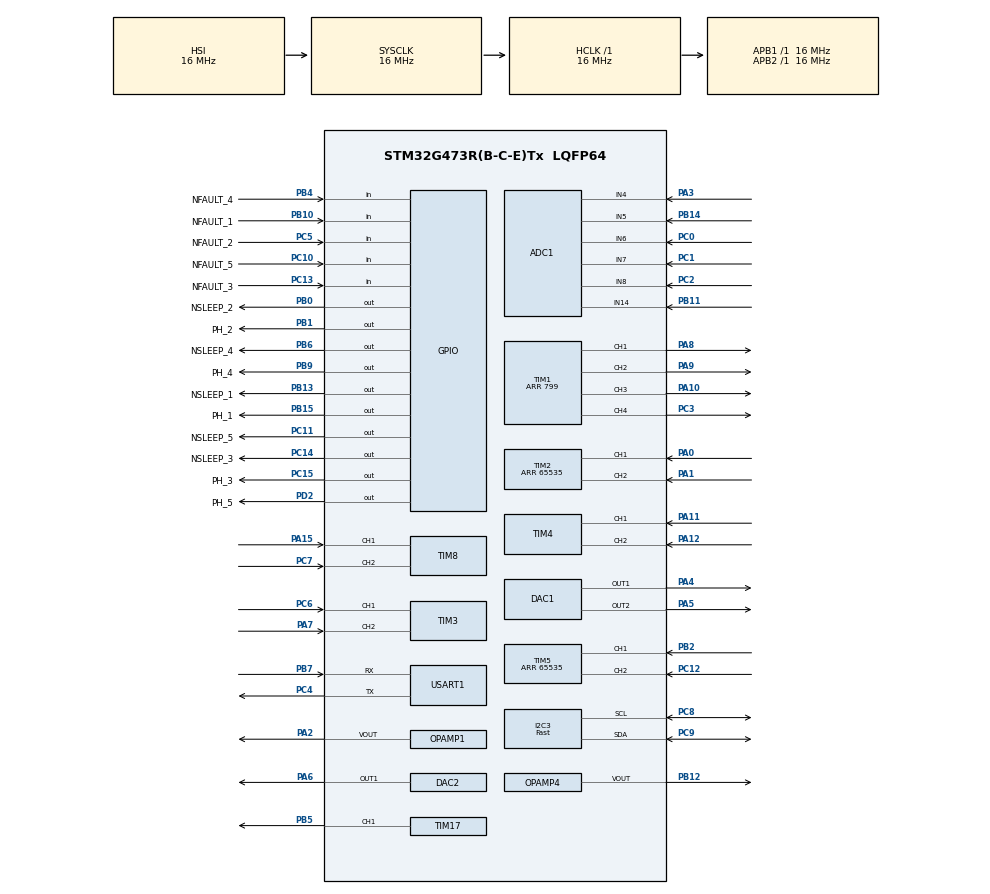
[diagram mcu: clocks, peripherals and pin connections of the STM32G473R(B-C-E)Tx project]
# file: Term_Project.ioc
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ADC1.Channel-0\#ChannelRegularConversion=ADC_CHANNEL_4
ADC1.Channel-1\#ChannelRegularConversion=ADC_CHANNEL_5
ADC1.Channel-2\#ChannelRegularConversion=ADC_CHANNEL_6
ADC1.Channel-3\#ChannelRegularConversion=ADC_CHANNEL_7
ADC1.Channel-4\#ChannelRegularConversion=ADC_CHANNEL_8
ADC1.ClockPrescaler=ADC_CLOCK_SYNC_PCLK_DIV1
ADC1.NbrOfConversion=5
ADC1.NbrOfConversionFlag=1
ADC1.OffsetNumber-0\#ChannelRegularConversion=ADC_OFFSET_NONE
ADC1.OffsetNumber-1\#ChannelRegularConversion=ADC_OFFSET_NONE
ADC1.OffsetNumber-2\#ChannelRegularConversion=ADC_OFFSET_NONE
ADC1.OffsetNumber-3\#ChannelRegularConversion=ADC_OFFSET_NONE
ADC1.OffsetNumber-4\#ChannelRegularConversion=ADC_OFFSET_NONE
ADC1.Rank-0\#ChannelRegularConversion=1
ADC1.Rank-1\#ChannelRegularConversion=2
ADC1.Rank-2\#ChannelRegularConversion=3
ADC1.Rank-3\#ChannelRegularConversion=4
ADC1.Rank-4\#ChannelRegularConversion=5
ADC1.SamplingTime-0\#ChannelRegularConversion=ADC_SAMPLETIME_640CYCLES_5
ADC1.SamplingTime-1\#ChannelRegularConversion=ADC_SAMPLETIME_640CYCLES_5
ADC1.SamplingTime-2\#ChannelRegularConversion=ADC_SAMPLETIME_640CYCLES_5
ADC1.SamplingTime-3\#ChannelRegularConversion=ADC_SAMPLETIME_640CYCLES_5
ADC1.SamplingTime-4\#ChannelRegularConversion=ADC_SAMPLETIME_640CYCLES_5
ADC1.master=1
DAC1.DAC_Channel-DAC_OUT2=DAC_CHANNEL_2
I2C3.I2C_Speed_Mode=I2C_Fast
I2C3.OwnAddress=1
I2C3.Timing=0x00300617
Mcu.Family=STM32G4
Mcu.Name=STM32G473R(B-C-E)Tx
Mcu.Package=LQFP64
NVIC.PriorityGroup=NVIC_PRIORITYGROUP_4
NVIC.USART1_IRQn=true\:0\:0\:false\:false\:true\:true\:true\:true
PA0.GPIO_PuPd=GPIO_PULLUP
PA0.Signal=S_TIM2_CH1
PA1.GPIO_PuPd=GPIO_PULLUP
PA1.Signal=S_TIM2_CH2
PA10.Signal=S_TIM1_CH3
PA11.GPIO_PuPd=GPIO_PULLUP
PA11.Signal=S_TIM4_CH1
PA12.GPIO_PuPd=GPIO_PULLUP
PA12.Signal=S_TIM4_CH2
PA13.Mode=Trace_Asynchronous_SW
PA13.Signal=SYS_JTMS-SWDIO
PA14.Mode=Trace_Asynchronous_SW
PA14.Signal=SYS_JTCK-SWCLK
PA15.GPIO_PuPd=GPIO_PULLUP
PA15.Signal=S_TIM8_CH1
PA2.Mode=Follower-DAC_OUT2-INP
PA2.Signal=OPAMP1_VOUT
PA3.Mode=IN4-Single-Ended
PA3.Signal=ADC1_IN4
PA4.Signal=COMP_DAC11_group
PA5.Signal=COMP_DAC12_group
PA6.Signal=COMP_DAC21_group
PA7.GPIO_PuPd=GPIO_PULLUP
PA7.Signal=S_TIM3_CH2
PA8.Signal=S_TIM1_CH1
PA9.Signal=S_TIM1_CH2
PB0.GPIO_Label=NSLEEP_2
PB0.Signal=GPIO_Output
PB1.GPIO_Label=PH_2
PB1.Signal=GPIO_Output
PB10.GPIO_Label=NFAULT_1
PB10.Signal=GPIO_Input
PB11.Mode=IN14-Single-Ended
PB11.Signal=ADC1_IN14
PB12.Mode=Follower-DAC_OUT2-INP
PB12.Signal=OPAMP4_VOUT
PB13.GPIO_Label=NSLEEP_1
PB13.Signal=GPIO_Output
PB14.Mode=IN5-Single-Ended
PB14.Signal=ADC1_IN5
PB15.GPIO_Label=PH_1
PB15.Signal=GPIO_Output
PB2.GPIO_PuPd=GPIO_PULLUP
PB2.Signal=S_TIM5_CH1
PB3.Mode=Trace_Asynchronous_SW
PB3.Signal=SYS_JTDO-SWO
PB4.GPIO_Label=NFAULT_4
PB4.Signal=GPIO_Input
PB5.Signal=S_TIM17_CH1
PB6.GPIO_Label=NSLEEP_4
PB6.Signal=GPIO_Output
PB7.Mode=Asynchronous
PB7.Signal=USART1_RX
PB9.GPIO_Label=PH_4
PB9.Signal=GPIO_Output
PC0.Mode=IN6-Single-Ended
PC0.Signal=ADC1_IN6
PC1.Mode=IN7-Single-Ended
PC1.Signal=ADC1_IN7
PC10.GPIO_Label=NFAULT_5
PC10.Signal=GPIO_Input
PC11.GPIO_Label=NSLEEP_5
PC11.Signal=GPIO_Output
PC12.GPIO_PuPd=GPIO_PULLUP
PC12.Signal=S_TIM5_CH2
PC13.GPIO_Label=NFAULT_3
PC13.Signal=GPIO_Input
PC14-OSC32_IN.GPIO_Label=NSLEEP_3
PC14-OSC32_IN.Signal=GPIO_Output
PC15-OSC32_OUT.GPIO_Label=PH_3
PC15-OSC32_OUT.Signal=GPIO_Output
PC2.Mode=IN8-Single-Ended
PC2.Signal=ADC1_IN8
PC3.GPIO_PuPd=GPIO_NOPULL
PC3.Signal=S_TIM1_CH4
PC4.Mode=Asynchronous
PC4.Signal=USART1_TX
PC5.GPIO_Label=NFAULT_2
PC5.Signal=GPIO_Input
PC6.GPIO_PuPd=GPIO_PULLUP
PC6.Signal=S_TIM3_CH1
PC7.GPIO_PuPd=GPIO_PULLUP
PC7.Signal=S_TIM8_CH2
PC8.Mode=I2C
PC8.Signal=I2C3_SCL
PC9.Mode=I2C
PC9.Signal=I2C3_SDA
PD2.GPIO_Label=PH_5
PD2.Signal=GPIO_Output
ProjectManager.HeapSize=0x200
ProjectManager.StackSize=0x400
ProjectManager.TargetToolchain=STM32CubeIDE
RCC.ADC12Freq_Value=16000000
RCC.ADC345Freq_Value=16000000
RCC.AHBFreq_Value=16000000
RCC.APB1Freq_Value=16000000
RCC.APB1TimFreq_Value=16000000
RCC.APB2Freq_Value=16000000
RCC.APB2TimFreq_Value=16000000
RCC.CK48CLockSelection=RCC_USBCLKSOURCE_HSI48
RCC.CortexFreq_Value=16000000
RCC.EXTERNAL_CLOCK_VALUE=12288000
RCC.HCLKFreq_Value=16000000
RCC.HSE_VALUE=8000000
RCC.HSI48_VALUE=48000000
RCC.HSI_VALUE=16000000
RCC.LSE_VALUE=32768
RCC.SYSCLKFreq_VALUE=16000000
RCC.USBFreq_Value=48000000
RCC.VCOOutputFreq_Value=128000000
SH.COMP_DAC11_group.0=DAC1_OUT1,DAC_OUT1
SH.COMP_DAC12_group.0=DAC1_OUT2,DAC_OUT2
SH.COMP_DAC21_group.0=DAC2_OUT1,DAC_OUT1
SH.S_TIM17_CH1.0=TIM17_CH1,PWM Generation1 CH1
SH.S_TIM1_CH1.0=TIM1_CH1,PWM Generation1 CH1
SH.S_TIM1_CH2.0=TIM1_CH2,PWM Generation2 CH2
SH.S_TIM1_CH3.0=TIM1_CH3,PWM Generation3 CH3
SH.S_TIM1_CH4.0=TIM1_CH4,PWM Generation4 CH4
SH.S_TIM2_CH1.0=TIM2_CH1,Encoder_Interface
SH.S_TIM2_CH2.0=TIM2_CH2,Encoder_Interface
SH.S_TIM3_CH1.0=TIM3_CH1,Encoder_Interface
SH.S_TIM3_CH2.0=TIM3_CH2,Encoder_Interface
SH.S_TIM4_CH1.0=TIM4_CH1,Encoder_Interface
SH.S_TIM4_CH2.0=TIM4_CH2,Encoder_Interface
SH.S_TIM5_CH1.0=TIM5_CH1,Encoder_Interface
SH.S_TIM5_CH2.0=TIM5_CH2,Encoder_Interface
SH.S_TIM8_CH1.0=TIM8_CH1,Encoder_Interface
SH.S_TIM8_CH2.0=TIM8_CH2,Encoder_Interface
TIM1.Channel-PWM\ Generation1\ CH1=TIM_CHANNEL_1
TIM1.Channel-PWM\ Generation2\ CH2=TIM_CHANNEL_2
TIM1.Channel-PWM\ Generation3\ CH3=TIM_CHANNEL_3
TIM1.Channel-PWM\ Generation4\ CH4=TIM_CHANNEL_4
TIM1.PeriodNoDither=799
TIM17.Channel=TIM_CHANNEL_1
TIM17.PeriodNoDither=799
TIM2.PeriodNoDither=65535
TIM5.PeriodNoDither=65535
TIM6.Prescaler=15
USART1.VirtualMode-Asynchronous=VM_ASYNC
VP_DAC3_VS_DACI1.Mode=DAC_OUT1_Int
VP_DAC4_VS_DACI1.Mode=DAC_OUT1_Int
VP_SYS_VS_DBSignals.Mode=DisableDeadBatterySignals
VP_TIM17_VS_ClockSourceINT.Mode=Enable_Timer
VP_TIM6_VS_ClockSourceINT.Mode=Enable_Timer
board=custom

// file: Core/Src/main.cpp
/* USER CODE BEGIN Header */
/**
  ******************************************************************************
  * @file           : main.cpp
  * @brief          : Main program body
  ******************************************************************************
  * @attention
  *
  * Copyright (c) 2025 STMicroelectronics.
  * All rights reserved.
  *
  * This software is licensed under terms that can be found in the LICENSE file
  * in the root directory of this software component.
  * If no LICENSE file comes with this software, it is provided AS-IS.
  *
  ******************************************************************************
  */

/**
 * @var hadc1
 * @brief ADC1 Handle
 *
 * @var hdac1
 * @brief DAC1 Handle
 *
 * @var hdac2
 * @brief DAC2 Handle
 *
 * @var hdac3
 * @brief DAC3 Handle
 *
 * @var hdac4
 * @brief DAC4 Handle
 *
 * @var hi2c3
 * @brief I2C3 Handle
 *
 * @var hopamp1
 * @brief OPAMP1 Handle
 *
 * @var hopamp4
 * @brief OPAMP4 Handle
 *
 * @var htim1
 * @brief TIM1 Handle
 *
 * @var htim2
 * @brief TIM2 Handle
 *
 * @var htim3
 * @brief TIM3 Handle
 *
 * @var htim4
 * @brief TIM4 Handle
 *
 * @var htim5
 * @brief TIM5 Handle
 *
 * @var htim6
 * @brief TIM6 Handle
 *
 * @var htim8
 * @brief TIM8 Handle
 *
 * @var htim17
 * @brief TIM17 Handle
 *
 * @var huart1
 * @brief UART1 Handle
 *
 */

/* USER CODE END Header */
#include "main.h"

/* USER CODE BEGIN Includes */
#include <stdio.h>
#include <algorithm>
#include <string>
#include "motor.h"
#include "time.h"
#include "controller.h"
#include "finger_task.h"
/* USER CODE END Includes */

ADC_HandleTypeDef hadc1;

DAC_HandleTypeDef hdac1;
DAC_HandleTypeDef hdac2;
DAC_HandleTypeDef hdac3;
DAC_HandleTypeDef hdac4;

I2C_HandleTypeDef hi2c3;

OPAMP_HandleTypeDef hopamp1;
OPAMP_HandleTypeDef hopamp4;

TIM_HandleTypeDef htim1;
TIM_HandleTypeDef htim2;
TIM_HandleTypeDef htim3;
TIM_HandleTypeDef htim4;
TIM_HandleTypeDef htim5;
TIM_HandleTypeDef htim6;
TIM_HandleTypeDef htim8;
TIM_HandleTypeDef htim17;

UART_HandleTypeDef huart1;

/* USER CODE BEGIN PV */
// Create motor objects
/**
 * @brief Motor object for interfacing with Motor 1
 */
Motor MOT1 = Motor(&htim1,TIM_CHANNEL_1
		          ,NSLEEP_1_GPIO_Port,NSLEEP_1_Pin
				  ,PH_1_GPIO_Port,PH_1_Pin
				  ,&htim2
				  ,&hadc1,ADC_CHANNEL_4
				  ,&hdac1,DAC_CHANNEL_1);

/**
 * @brief Motor object for interfacing with Motor 2
 */
Motor MOT2 = Motor(&htim1,TIM_CHANNEL_2
		          ,NSLEEP_2_GPIO_Port,NSLEEP_2_Pin
				  ,PH_2_GPIO_Port,PH_2_Pin
				  ,&htim3
				  ,&hadc1,ADC_CHANNEL_5
				  ,&hdac1,DAC_CHANNEL_2);

/**
 * @brief Motor object for interfacing with Motor 3
 */
Motor MOT3 = Motor(&htim1,TIM_CHANNEL_3
		          ,NSLEEP_3_GPIO_Port,NSLEEP_3_Pin
				  ,PH_3_GPIO_Port,PH_3_Pin
				  ,&htim4
				  ,&hadc1,ADC_CHANNEL_6
				  ,&hdac2,DAC_CHANNEL_1);

/**
 * @brief Motor object for interfacing with Motor 4
 */
Motor MOT4 = Motor(&htim1,TIM_CHANNEL_4
		          ,NSLEEP_4_GPIO_Port,NSLEEP_4_Pin
				  ,PH_4_GPIO_Port,PH_4_Pin
				  ,&htim5
				  ,&hadc1,ADC_CHANNEL_7
				  ,&hdac3,DAC_CHANNEL_1);

/**
 * @brief Motor object for interfacing with Motor 5
 */
Motor MOT5 = Motor(&htim17,TIM_CHANNEL_1
		          ,NSLEEP_5_GPIO_Port,NSLEEP_5_Pin
				  ,PH_5_GPIO_Port,PH_5_Pin
				  ,&htim8
				  ,&hadc1,ADC_CHANNEL_8
				  ,&hdac4,DAC_CHANNEL_1);

// Create Finger Task Object
#ifdef INDEX_FINGER
/**
 * @brief Finger_TASK object for handling the Index Finger
 */
Finger_TASK FINGER = Finger_TASK(&MOT2,325
		                        ,&MOT3,1800,1200,900
							    ,&MOT4,150
							    ,&MOT5,150,275
							    ,2.0,0.0,0.01,0.001);
#endif

#ifdef THUMB_FINGER
/**
 * @brief Finger_TASK object for handling the Thumb
 */
Finger_TASK FINGER = Finger_TASK(&MOT2,400
		                        ,&MOT3,1500,600,800
							    ,&MOT4,300
							    ,&MOT5,300,225
							    ,2.0,0.0,0.01,0.001);
#endif

// Create UI Variables
int msg; /**< @brief Length of dynamic string */
int valid; /**< @brief Number of valid format parameters */
int flex; /**< @brief Which flex form commanded (1,2,3) */
std::string buffer; /**< @brief UART entire entered message buffer*/
char reply[100]; /**< @brief UART reply message character string */
unsigned char buf; /**< @brief UART individual character buffer */
int32_t TEMP_set = 0; /**< @brief UART parsed setpoint*/

/**
 * @brief String for the list of available commands
 */
std::string command_list = "\n\rCommands:"
						   "\n\rZRO     : Run Homing Sequence"
		                   "\n\rFLX3 ###: Flex all 3 joints (0-100%)"
		                   "\n\rFLX2 ###: Flex top 2 joints (0-100%)"
		                   "\n\rFLX1 ###: Flex bottom joint (0-100%)"
		                   "\n\rADD  ###: Adduct the finger (move towards middle of hand) (0-100%)"
		                   "\n\rABD  ###: Abduct the finger (move away from middle of hand) (0-100%)"
		                   "\n\rDLY     : Change the delay between each motion command in milliseconds"
		                   "\n\rRUN     : Run the sequence of motion commands once"
		                   "\n\rLPG     : Loop the sequence of the motion commands indefinitely"
		                   "\n\rSTP     : Stop looping the sequence of motion commands"
		                   "\n\rCLR     : Clear the sequence of motion commands"
		                   "\n\rDMO     : Activate Demo Mode"
		                   "\n\r\n\r";

/* USER CODE END PV */

void SystemClock_Config(void);
static void MX_GPIO_Init(void);
static void MX_ADC1_Init(void);
static void MX_DAC1_Init(void);
static void MX_DAC2_Init(void);
static void MX_DAC3_Init(void);
static void MX_DAC4_Init(void);
static void MX_OPAMP1_Init(void);
static void MX_OPAMP4_Init(void);
static void MX_TIM1_Init(void);
static void MX_TIM2_Init(void);
static void MX_TIM3_Init(void);
static void MX_TIM4_Init(void);
static void MX_TIM5_Init(void);
static void MX_TIM8_Init(void);
static void MX_USART1_UART_Init(void);
static void MX_TIM17_Init(void);
static void MX_I2C3_Init(void);
static void MX_TIM6_Init(void);

int main(void)
{

  /* MCU Configuration--------------------------------------------------------*/

  /* Reset of all peripherals, Initializes the Flash interface and the Systick. */
  HAL_Init();

  /* Configure the system clock */
  SystemClock_Config();

  /* Initialize all configured peripherals */
  MX_GPIO_Init();
  MX_ADC1_Init();
  MX_DAC1_Init();
  MX_DAC2_Init();
  MX_DAC3_Init();
  MX_DAC4_Init();
  MX_OPAMP1_Init();
  MX_OPAMP4_Init();
  MX_TIM1_Init();
  MX_TIM2_Init();
  MX_TIM3_Init();
  MX_TIM4_Init();
  MX_TIM5_Init();
  MX_TIM8_Init();
  MX_USART1_UART_Init();
  MX_TIM17_Init();
  MX_I2C3_Init();
  MX_TIM6_Init();
  /* USER CODE BEGIN 2 */

  // Start UART
#ifdef INDEX_FINGER
  msg = sprintf(reply,"\n\rWelcome! Please enter your sequence of motion commands: (INDEX)\n\r");
#endif

#ifdef THUMB_FINGER
  msg = sprintf(reply,"\n\rWelcome! Please enter your sequence of motion commands: (THUMB)\n\r");
#endif
  HAL_UART_Transmit(&huart1,(unsigned char*)reply,msg,1000);
  HAL_UART_Receive_IT(&huart1,&buf,sizeof(buf));

  // Transmit the list of commands
  HAL_UART_Transmit(&huart1,(unsigned char*)command_list.c_str(),command_list.size(),1000);

  // Start OPAMPs for DAC 3 and 4
  HAL_OPAMP_Start(&hopamp1); // OPAMP 1 for DAC3 CH1
  HAL_OPAMP_Start(&hopamp4); // OPAMP 4 for DAC4 CH1

  HAL_TIM_Base_Start(&htim6); // Start Timer 6 for Microseconds Clock
  /* USER CODE END 2 */

  /* Infinite loop */
  /* USER CODE BEGIN WHILE */
  while (1)
  {
	  FINGER.FSM(); // Run finger task FSM
    /* USER CODE END WHILE */

  }
}

void SystemClock_Config(void)
{
  RCC_OscInitTypeDef RCC_OscInitStruct = {0};
  RCC_ClkInitTypeDef RCC_ClkInitStruct = {0};

  /** Configure the main internal regulator output voltage
  */
  HAL_PWREx_ControlVoltageScaling(PWR_REGULATOR_VOLTAGE_SCALE1);

  /** Initializes the RCC Oscillators according to the specified parameters
  * in the RCC_OscInitTypeDef structure.
  */
  RCC_OscInitStruct.OscillatorType = RCC_OSCILLATORTYPE_HSI;
  RCC_OscInitStruct.HSIState = RCC_HSI_ON;
  RCC_OscInitStruct.HSICalibrationValue = RCC_HSICALIBRATION_DEFAULT;
  RCC_OscInitStruct.PLL.PLLState = RCC_PLL_NONE;
  if (HAL_RCC_OscConfig(&RCC_OscInitStruct) != HAL_OK)
  {
    Error_Handler();
  }

  /** Initializes the CPU, AHB and APB buses clocks
  */
  RCC_ClkInitStruct.ClockType = RCC_CLOCKTYPE_HCLK|RCC_CLOCKTYPE_SYSCLK
                              |RCC_CLOCKTYPE_PCLK1|RCC_CLOCKTYPE_PCLK2;
  RCC_ClkInitStruct.SYSCLKSource = RCC_SYSCLKSOURCE_HSI;
  RCC_ClkInitStruct.AHBCLKDivider = RCC_SYSCLK_DIV1;
  RCC_ClkInitStruct.APB1CLKDivider = RCC_HCLK_DIV1;
  RCC_ClkInitStruct.APB2CLKDivider = RCC_HCLK_DIV1;

  if (HAL_RCC_ClockConfig(&RCC_ClkInitStruct, FLASH_LATENCY_0) != HAL_OK)
  {
    Error_Handler();
  }
}

static void MX_ADC1_Init(void)
{

  ADC_MultiModeTypeDef multimode = {0};
  ADC_ChannelConfTypeDef sConfig = {0};

  /** Common config
  */
  hadc1.Instance = ADC1;
  hadc1.Init.ClockPrescaler = ADC_CLOCK_SYNC_PCLK_DIV1;
  hadc1.Init.Resolution = ADC_RESOLUTION_12B;
  hadc1.Init.DataAlign = ADC_DATAALIGN_RIGHT;
  hadc1.Init.GainCompensation = 0;
  hadc1.Init.ScanConvMode = ADC_SCAN_ENABLE;
  hadc1.Init.EOCSelection = ADC_EOC_SINGLE_CONV;
  hadc1.Init.LowPowerAutoWait = DISABLE;
  hadc1.Init.ContinuousConvMode = DISABLE;
  hadc1.Init.NbrOfConversion = 5;
  hadc1.Init.DiscontinuousConvMode = DISABLE;
  hadc1.Init.ExternalTrigConv = ADC_SOFTWARE_START;
  hadc1.Init.ExternalTrigConvEdge = ADC_EXTERNALTRIGCONVEDGE_NONE;
  hadc1.Init.DMAContinuousRequests = DISABLE;
  hadc1.Init.Overrun = ADC_OVR_DATA_PRESERVED;
  hadc1.Init.OversamplingMode = DISABLE;
  if (HAL_ADC_Init(&hadc1) != HAL_OK)
  {
    Error_Handler();
  }

  /** Configure the ADC multi-mode
  */
  multimode.Mode = ADC_MODE_INDEPENDENT;
  if (HAL_ADCEx_MultiModeConfigChannel(&hadc1, &multimode) != HAL_OK)
  {
    Error_Handler();
  }

  /** Configure Regular Channel
  */
  sConfig.Channel = ADC_CHANNEL_4;
  sConfig.Rank = ADC_REGULAR_RANK_1;
  sConfig.SamplingTime = ADC_SAMPLETIME_640CYCLES_5;
  sConfig.SingleDiff = ADC_SINGLE_ENDED;
  sConfig.OffsetNumber = ADC_OFFSET_NONE;
  sConfig.Offset = 0;
  if (HAL_ADC_ConfigChannel(&hadc1, &sConfig) != HAL_OK)
  {
    Error_Handler();
  }

  /** Configure Regular Channel
  */
  sConfig.Channel = ADC_CHANNEL_5;
  sConfig.Rank = ADC_REGULAR_RANK_2;
  if (HAL_ADC_ConfigChannel(&hadc1, &sConfig) != HAL_OK)
  {
    Error_Handler();
  }

  /** Configure Regular Channel
  */
  sConfig.Channel = ADC_CHANNEL_6;
  sConfig.Rank = ADC_REGULAR_RANK_3;
  if (HAL_ADC_ConfigChannel(&hadc1, &sConfig) != HAL_OK)
  {
    Error_Handler();
  }

  /** Configure Regular Channel
  */
  sConfig.Channel = ADC_CHANNEL_7;
  sConfig.Rank = ADC_REGULAR_RANK_4;
  if (HAL_ADC_ConfigChannel(&hadc1, &sConfig) != HAL_OK)
  {
    Error_Handler();
  }

  /** Configure Regular Channel
  */
  sConfig.Channel = ADC_CHANNEL_8;
  sConfig.Rank = ADC_REGULAR_RANK_5;
  if (HAL_ADC_ConfigChannel(&hadc1, &sConfig) != HAL_OK)
  {
    Error_Handler();
  }

}

static void MX_DAC1_Init(void)
{

  DAC_ChannelConfTypeDef sConfig = {0};

  /** DAC Initialization
  */
  hdac1.Instance = DAC1;
  if (HAL_DAC_Init(&hdac1) != HAL_OK)
  {
    Error_Handler();
  }

  /** DAC channel OUT1 config
  */
  sConfig.DAC_HighFrequency = DAC_HIGH_FREQUENCY_INTERFACE_MODE_AUTOMATIC;
  sConfig.DAC_DMADoubleDataMode = DISABLE;
  sConfig.DAC_SignedFormat = DISABLE;
  sConfig.DAC_SampleAndHold = DAC_SAMPLEANDHOLD_DISABLE;
  sConfig.DAC_Trigger = DAC_TRIGGER_NONE;
  sConfig.DAC_Trigger2 = DAC_TRIGGER_NONE;
  sConfig.DAC_OutputBuffer = DAC_OUTPUTBUFFER_ENABLE;
  sConfig.DAC_ConnectOnChipPeripheral = DAC_CHIPCONNECT_EXTERNAL;
  sConfig.DAC_UserTrimming = DAC_TRIMMING_FACTORY;
  if (HAL_DAC_ConfigChannel(&hdac1, &sConfig, DAC_CHANNEL_1) != HAL_OK)
  {
    Error_Handler();
  }

  /** DAC channel OUT2 config
  */
  if (HAL_DAC_ConfigChannel(&hdac1, &sConfig, DAC_CHANNEL_2) != HAL_OK)
  {
    Error_Handler();
  }

}

static void MX_DAC2_Init(void)
{

  DAC_ChannelConfTypeDef sConfig = {0};

  /** DAC Initialization
  */
  hdac2.Instance = DAC2;
  if (HAL_DAC_Init(&hdac2) != HAL_OK)
  {
    Error_Handler();
  }

  /** DAC channel OUT1 config
  */
  sConfig.DAC_HighFrequency = DAC_HIGH_FREQUENCY_INTERFACE_MODE_AUTOMATIC;
  sConfig.DAC_DMADoubleDataMode = DISABLE;
  sConfig.DAC_SignedFormat = DISABLE;
  sConfig.DAC_SampleAndHold = DAC_SAMPLEANDHOLD_DISABLE;
  sConfig.DAC_Trigger = DAC_TRIGGER_NONE;
  sConfig.DAC_Trigger2 = DAC_TRIGGER_NONE;
  sConfig.DAC_OutputBuffer = DAC_OUTPUTBUFFER_ENABLE;
  sConfig.DAC_ConnectOnChipPeripheral = DAC_CHIPCONNECT_EXTERNAL;
  sConfig.DAC_UserTrimming = DAC_TRIMMING_FACTORY;
  if (HAL_DAC_ConfigChannel(&hdac2, &sConfig, DAC_CHANNEL_1) != HAL_OK)
  {
    Error_Handler();
  }

}

static void MX_DAC3_Init(void)
{

  DAC_ChannelConfTypeDef sConfig = {0};

  /** DAC Initialization
  */
  hdac3.Instance = DAC3;
  if (HAL_DAC_Init(&hdac3) != HAL_OK)
  {
    Error_Handler();
  }

  /** DAC channel OUT1 config
  */
  sConfig.DAC_HighFrequency = DAC_HIGH_FREQUENCY_INTERFACE_MODE_AUTOMATIC;
  sConfig.DAC_DMADoubleDataMode = DISABLE;
  sConfig.DAC_SignedFormat = DISABLE;
  sConfig.DAC_SampleAndHold = DAC_SAMPLEANDHOLD_DISABLE;
  sConfig.DAC_Trigger = DAC_TRIGGER_NONE;
  sConfig.DAC_Trigger2 = DAC_TRIGGER_NONE;
  sConfig.DAC_OutputBuffer = DAC_OUTPUTBUFFER_DISABLE;
  sConfig.DAC_ConnectOnChipPeripheral = DAC_CHIPCONNECT_INTERNAL;
  sConfig.DAC_UserTrimming = DAC_TRIMMING_FACTORY;
  if (HAL_DAC_ConfigChannel(&hdac3, &sConfig, DAC_CHANNEL_1) != HAL_OK)
  {
    Error_Handler();
  }

}

static void MX_DAC4_Init(void)
{

  DAC_ChannelConfTypeDef sConfig = {0};

  /** DAC Initialization
  */
  hdac4.Instance = DAC4;
  if (HAL_DAC_Init(&hdac4) != HAL_OK)
  {
    Error_Handler();
  }

  /** DAC channel OUT1 config
  */
  sConfig.DAC_HighFrequency = DAC_HIGH_FREQUENCY_INTERFACE_MODE_AUTOMATIC;
  sConfig.DAC_DMADoubleDataMode = DISABLE;
  sConfig.DAC_SignedFormat = DISABLE;
  sConfig.DAC_SampleAndHold = DAC_SAMPLEANDHOLD_DISABLE;
  sConfig.DAC_Trigger = DAC_TRIGGER_NONE;
  sConfig.DAC_Trigger2 = DAC_TRIGGER_NONE;
  sConfig.DAC_OutputBuffer = DAC_OUTPUTBUFFER_DISABLE;
  sConfig.DAC_ConnectOnChipPeripheral = DAC_CHIPCONNECT_INTERNAL;
  sConfig.DAC_UserTrimming = DAC_TRIMMING_FACTORY;
  if (HAL_DAC_ConfigChannel(&hdac4, &sConfig, DAC_CHANNEL_1) != HAL_OK)
  {
    Error_Handler();
  }

}

static void MX_I2C3_Init(void)
{

  hi2c3.Instance = I2C3;
  hi2c3.Init.Timing = 0x00300617;
  hi2c3.Init.OwnAddress1 = 2;
  hi2c3.Init.AddressingMode = I2C_ADDRESSINGMODE_7BIT;
  hi2c3.Init.DualAddressMode = I2C_DUALADDRESS_DISABLE;
  hi2c3.Init.OwnAddress2 = 0;
  hi2c3.Init.OwnAddress2Masks = I2C_OA2_NOMASK;
  hi2c3.Init.GeneralCallMode = I2C_GENERALCALL_DISABLE;
  hi2c3.Init.NoStretchMode = I2C_NOSTRETCH_DISABLE;
  if (HAL_I2C_Init(&hi2c3) != HAL_OK)
  {
    Error_Handler();
  }

  /** Configure Analogue filter
  */
  if (HAL_I2CEx_ConfigAnalogFilter(&hi2c3, I2C_ANALOGFILTER_ENABLE) != HAL_OK)
  {
    Error_Handler();
  }

  /** Configure Digital filter
  */
  if (HAL_I2CEx_ConfigDigitalFilter(&hi2c3, 0) != HAL_OK)
  {
    Error_Handler();
  }

}

static void MX_OPAMP1_Init(void)
{

  hopamp1.Instance = OPAMP1;
  hopamp1.Init.PowerMode = OPAMP_POWERMODE_NORMALSPEED;
  hopamp1.Init.Mode = OPAMP_FOLLOWER_MODE;
  hopamp1.Init.NonInvertingInput = OPAMP_NONINVERTINGINPUT_DAC;
  hopamp1.Init.InternalOutput = DISABLE;
  hopamp1.Init.TimerControlledMuxmode = OPAMP_TIMERCONTROLLEDMUXMODE_DISABLE;
  hopamp1.Init.UserTrimming = OPAMP_TRIMMING_FACTORY;
  if (HAL_OPAMP_Init(&hopamp1) != HAL_OK)
  {
    Error_Handler();
  }

}

static void MX_OPAMP4_Init(void)
{

  hopamp4.Instance = OPAMP4;
  hopamp4.Init.PowerMode = OPAMP_POWERMODE_NORMALSPEED;
  hopamp4.Init.Mode = OPAMP_FOLLOWER_MODE;
  hopamp4.Init.NonInvertingInput = OPAMP_NONINVERTINGINPUT_DAC;
  hopamp4.Init.InternalOutput = DISABLE;
  hopamp4.Init.TimerControlledMuxmode = OPAMP_TIMERCONTROLLEDMUXMODE_DISABLE;
  hopamp4.Init.UserTrimming = OPAMP_TRIMMING_FACTORY;
  if (HAL_OPAMP_Init(&hopamp4) != HAL_OK)
  {
    Error_Handler();
  }

}

static void MX_TIM1_Init(void)
{

  TIM_MasterConfigTypeDef sMasterConfig = {0};
  TIM_OC_InitTypeDef sConfigOC = {0};
  TIM_BreakDeadTimeConfigTypeDef sBreakDeadTimeConfig = {0};

  htim1.Instance = TIM1;
  htim1.Init.Prescaler = 0;
  htim1.Init.CounterMode = TIM_COUNTERMODE_UP;
  htim1.Init.Period = 799;
  htim1.Init.ClockDivision = TIM_CLOCKDIVISION_DIV1;
  htim1.Init.RepetitionCounter = 0;
  htim1.Init.AutoReloadPreload = TIM_AUTORELOAD_PRELOAD_DISABLE;
  if (HAL_TIM_PWM_Init(&htim1) != HAL_OK)
  {
    Error_Handler();
  }
  sMasterConfig.MasterOutputTrigger = TIM_TRGO_RESET;
  sMasterConfig.MasterOutputTrigger2 = TIM_TRGO2_RESET;
  sMasterConfig.MasterSlaveMode = TIM_MASTERSLAVEMODE_DISABLE;
  if (HAL_TIMEx_MasterConfigSynchronization(&htim1, &sMasterConfig) != HAL_OK)
  {
    Error_Handler();
  }
  sConfigOC.OCMode = TIM_OCMODE_PWM1;
  sConfigOC.Pulse = 0;
  sConfigOC.OCPolarity = TIM_OCPOLARITY_HIGH;
  sConfigOC.OCNPolarity = TIM_OCNPOLARITY_HIGH;
  sConfigOC.OCFastMode = TIM_OCFAST_DISABLE;
  sConfigOC.OCIdleState = TIM_OCIDLESTATE_RESET;
  sConfigOC.OCNIdleState = TIM_OCNIDLESTATE_RESET;
  if (HAL_TIM_PWM_ConfigChannel(&htim1, &sConfigOC, TIM_CHANNEL_1) != HAL_OK)
  {
    Error_Handler();
  }
  if (HAL_TIM_PWM_ConfigChannel(&htim1, &sConfigOC, TIM_CHANNEL_2) != HAL_OK)
  {
    Error_Handler();
  }
  if (HAL_TIM_PWM_ConfigChannel(&htim1, &sConfigOC, TIM_CHANNEL_3) != HAL_OK)
  {
    Error_Handler();
  }
  if (HAL_TIM_PWM_ConfigChannel(&htim1, &sConfigOC, TIM_CHANNEL_4) != HAL_OK)
  {
    Error_Handler();
  }
  sBreakDeadTimeConfig.OffStateRunMode = TIM_OSSR_DISABLE;
  sBreakDeadTimeConfig.OffStateIDLEMode = TIM_OSSI_DISABLE;
  sBreakDeadTimeConfig.LockLevel = TIM_LOCKLEVEL_OFF;
  sBreakDeadTimeConfig.DeadTime = 0;
  sBreakDeadTimeConfig.BreakState = TIM_BREAK_DISABLE;
  sBreakDeadTimeConfig.BreakPolarity = TIM_BREAKPOLARITY_HIGH;
  sBreakDeadTimeConfig.BreakFilter = 0;
  sBreakDeadTimeConfig.BreakAFMode = TIM_BREAK_AFMODE_INPUT;
  sBreakDeadTimeConfig.Break2State = TIM_BREAK2_DISABLE;
  sBreakDeadTimeConfig.Break2Polarity = TIM_BREAK2POLARITY_HIGH;
  sBreakDeadTimeConfig.Break2Filter = 0;
  sBreakDeadTimeConfig.Break2AFMode = TIM_BREAK_AFMODE_INPUT;
  sBreakDeadTimeConfig.AutomaticOutput = TIM_AUTOMATICOUTPUT_DISABLE;
  if (HAL_TIMEx_ConfigBreakDeadTime(&htim1, &sBreakDeadTimeConfig) != HAL_OK)
  {
    Error_Handler();
  }
  HAL_TIM_MspPostInit(&htim1);

}

static void MX_TIM2_Init(void)
{

  TIM_Encoder_InitTypeDef sConfig = {0};
  TIM_MasterConfigTypeDef sMasterConfig = {0};

  htim2.Instance = TIM2;
  htim2.Init.Prescaler = 0;
  htim2.Init.CounterMode = TIM_COUNTERMODE_UP;
  htim2.Init.Period = 65535;
  htim2.Init.ClockDivision = TIM_CLOCKDIVISION_DIV1;
  htim2.Init.AutoReloadPreload = TIM_AUTORELOAD_PRELOAD_DISABLE;
  sConfig.EncoderMode = TIM_ENCODERMODE_TI1;
  sConfig.IC1Polarity = TIM_ICPOLARITY_RISING;
  sConfig.IC1Selection = TIM_ICSELECTION_DIRECTTI;
  sConfig.IC1Prescaler = TIM_ICPSC_DIV1;
  sConfig.IC1Filter = 0;
  sConfig.IC2Polarity = TIM_ICPOLARITY_RISING;
  sConfig.IC2Selection = TIM_ICSELECTION_DIRECTTI;
  sConfig.IC2Prescaler = TIM_ICPSC_DIV1;
  sConfig.IC2Filter = 0;
  if (HAL_TIM_Encoder_Init(&htim2, &sConfig) != HAL_OK)
  {
    Error_Handler();
  }
  sMasterConfig.MasterOutputTrigger = TIM_TRGO_RESET;
  sMasterConfig.MasterSlaveMode = TIM_MASTERSLAVEMODE_DISABLE;
  if (HAL_TIMEx_MasterConfigSynchronization(&htim2, &sMasterConfig) != HAL_OK)
  {
    Error_Handler();
  }

}

static void MX_TIM3_Init(void)
{

  TIM_Encoder_InitTypeDef sConfig = {0};
  TIM_MasterConfigTypeDef sMasterConfig = {0};

  htim3.Instance = TIM3;
  htim3.Init.Prescaler = 0;
  htim3.Init.CounterMode = TIM_COUNTERMODE_UP;
  htim3.Init.Period = 65535;
  htim3.Init.ClockDivision = TIM_CLOCKDIVISION_DIV1;
  htim3.Init.AutoReloadPreload = TIM_AUTORELOAD_PRELOAD_DISABLE;
  sConfig.EncoderMode = TIM_ENCODERMODE_TI1;
  sConfig.IC1Polarity = TIM_ICPOLARITY_RISING;
  sConfig.IC1Selection = TIM_ICSELECTION_DIRECTTI;
  sConfig.IC1Prescaler = TIM_ICPSC_DIV1;
  sConfig.IC1Filter = 0;
  sConfig.IC2Polarity = TIM_ICPOLARITY_RISING;
  sConfig.IC2Selection = TIM_ICSELECTION_DIRECTTI;
  sConfig.IC2Prescaler = TIM_ICPSC_DIV1;
  sConfig.IC2Filter = 0;
  if (HAL_TIM_Encoder_Init(&htim3, &sConfig) != HAL_OK)
  {
    Error_Handler();
  }
  sMasterConfig.MasterOutputTrigger = TIM_TRGO_RESET;
  sMasterConfig.MasterSlaveMode = TIM_MASTERSLAVEMODE_DISABLE;
  if (HAL_TIMEx_MasterConfigSynchronization(&htim3, &sMasterConfig) != HAL_OK)
  {
    Error_Handler();
  }

}

static void MX_TIM4_Init(void)
{

  TIM_Encoder_InitTypeDef sConfig = {0};
  TIM_MasterConfigTypeDef sMasterConfig = {0};

  htim4.Instance = TIM4;
  htim4.Init.Prescaler = 0;
  htim4.Init.CounterMode = TIM_COUNTERMODE_UP;
  htim4.Init.Period = 65535;
  htim4.Init.ClockDivision = TIM_CLOCKDIVISION_DIV1;
  htim4.Init.AutoReloadPreload = TIM_AUTORELOAD_PRELOAD_DISABLE;
  sConfig.EncoderMode = TIM_ENCODERMODE_TI1;
  sConfig.IC1Polarity = TIM_ICPOLARITY_RISING;
  sConfig.IC1Selection = TIM_ICSELECTION_DIRECTTI;
  sConfig.IC1Prescaler = TIM_ICPSC_DIV1;
  sConfig.IC1Filter = 0;
  sConfig.IC2Polarity = TIM_ICPOLARITY_RISING;
  sConfig.IC2Selection = TIM_ICSELECTION_DIRECTTI;
  sConfig.IC2Prescaler = TIM_ICPSC_DIV1;
  sConfig.IC2Filter = 0;
  if (HAL_TIM_Encoder_Init(&htim4, &sConfig) != HAL_OK)
  {
    Error_Handler();
  }
  sMasterConfig.MasterOutputTrigger = TIM_TRGO_RESET;
  sMasterConfig.MasterSlaveMode = TIM_MASTERSLAVEMODE_DISABLE;
  if (HAL_TIMEx_MasterConfigSynchronization(&htim4, &sMasterConfig) != HAL_OK)
  {
    Error_Handler();
  }

}

static void MX_TIM5_Init(void)
{

  TIM_Encoder_InitTypeDef sConfig = {0};
  TIM_MasterConfigTypeDef sMasterConfig = {0};

  htim5.Instance = TIM5;
  htim5.Init.Prescaler = 0;
  htim5.Init.CounterMode = TIM_COUNTERMODE_UP;
  htim5.Init.Period = 65535;
  htim5.Init.ClockDivision = TIM_CLOCKDIVISION_DIV1;
  htim5.Init.AutoReloadPreload = TIM_AUTORELOAD_PRELOAD_DISABLE;
  sConfig.EncoderMode = TIM_ENCODERMODE_TI1;
  sConfig.IC1Polarity = TIM_ICPOLARITY_RISING;
  sConfig.IC1Selection = TIM_ICSELECTION_DIRECTTI;
  sConfig.IC1Prescaler = TIM_ICPSC_DIV1;
  sConfig.IC1Filter = 0;
  sConfig.IC2Polarity = TIM_ICPOLARITY_RISING;
  sConfig.IC2Selection = TIM_ICSELECTION_DIRECTTI;
  sConfig.IC2Prescaler = TIM_ICPSC_DIV1;
  sConfig.IC2Filter = 0;
  if (HAL_TIM_Encoder_Init(&htim5, &sConfig) != HAL_OK)
  {
    Error_Handler();
  }
  sMasterConfig.MasterOutputTrigger = TIM_TRGO_RESET;
  sMasterConfig.MasterSlaveMode = TIM_MASTERSLAVEMODE_DISABLE;
  if (HAL_TIMEx_MasterConfigSynchronization(&htim5, &sMasterConfig) != HAL_OK)
  {
    Error_Handler();
  }

}

static void MX_TIM6_Init(void)
{

  TIM_MasterConfigTypeDef sMasterConfig = {0};

  htim6.Instance = TIM6;
  htim6.Init.Prescaler = 15;
  htim6.Init.CounterMode = TIM_COUNTERMODE_UP;
  htim6.Init.Period = 65535;
  htim6.Init.AutoReloadPreload = TIM_AUTORELOAD_PRELOAD_DISABLE;
  if (HAL_TIM_Base_Init(&htim6) != HAL_OK)
  {
    Error_Handler();
  }
  sMasterConfig.MasterOutputTrigger = TIM_TRGO_RESET;
  sMasterConfig.MasterSlaveMode = TIM_MASTERSLAVEMODE_DISABLE;
  if (HAL_TIMEx_MasterConfigSynchronization(&htim6, &sMasterConfig) != HAL_OK)
  {
    Error_Handler();
  }

}

static void MX_TIM8_Init(void)
{

  TIM_Encoder_InitTypeDef sConfig = {0};
  TIM_MasterConfigTypeDef sMasterConfig = {0};

  htim8.Instance = TIM8;
  htim8.Init.Prescaler = 0;
  htim8.Init.CounterMode = TIM_COUNTERMODE_UP;
  htim8.Init.Period = 65535;
  htim8.Init.ClockDivision = TIM_CLOCKDIVISION_DIV1;
  htim8.Init.RepetitionCounter = 0;
  htim8.Init.AutoReloadPreload = TIM_AUTORELOAD_PRELOAD_DISABLE;
  sConfig.EncoderMode = TIM_ENCODERMODE_TI1;
  sConfig.IC1Polarity = TIM_ICPOLARITY_RISING;
  sConfig.IC1Selection = TIM_ICSELECTION_DIRECTTI;
  sConfig.IC1Prescaler = TIM_ICPSC_DIV1;
  sConfig.IC1Filter = 0;
  sConfig.IC2Polarity = TIM_ICPOLARITY_RISING;
  sConfig.IC2Selection = TIM_ICSELECTION_DIRECTTI;
  sConfig.IC2Prescaler = TIM_ICPSC_DIV1;
  sConfig.IC2Filter = 0;
  if (HAL_TIM_Encoder_Init(&htim8, &sConfig) != HAL_OK)
  {
    Error_Handler();
  }
  sMasterConfig.MasterOutputTrigger = TIM_TRGO_RESET;
  sMasterConfig.MasterOutputTrigger2 = TIM_TRGO2_RESET;
  sMasterConfig.MasterSlaveMode = TIM_MASTERSLAVEMODE_DISABLE;
  if (HAL_TIMEx_MasterConfigSynchronization(&htim8, &sMasterConfig) != HAL_OK)
  {
    Error_Handler();
  }

}

static void MX_TIM17_Init(void)
{

  TIM_OC_InitTypeDef sConfigOC = {0};
  TIM_BreakDeadTimeConfigTypeDef sBreakDeadTimeConfig = {0};

  htim17.Instance = TIM17;
  htim17.Init.Prescaler = 0;
  htim17.Init.CounterMode = TIM_COUNTERMODE_UP;
  htim17.Init.Period = 799;
  htim17.Init.ClockDivision = TIM_CLOCKDIVISION_DIV1;
  htim17.Init.RepetitionCounter = 0;
  htim17.Init.AutoReloadPreload = TIM_AUTORELOAD_PRELOAD_DISABLE;
  if (HAL_TIM_Base_Init(&htim17) != HAL_OK)
  {
    Error_Handler();
  }
  if (HAL_TIM_PWM_Init(&htim17) != HAL_OK)
  {
    Error_Handler();
  }
  sConfigOC.OCMode = TIM_OCMODE_PWM1;
  sConfigOC.Pulse = 0;
  sConfigOC.OCPolarity = TIM_OCPOLARITY_HIGH;
  sConfigOC.OCNPolarity = TIM_OCNPOLARITY_HIGH;
  sConfigOC.OCFastMode = TIM_OCFAST_DISABLE;
  sConfigOC.OCIdleState = TIM_OCIDLESTATE_RESET;
  sConfigOC.OCNIdleState = TIM_OCNIDLESTATE_RESET;
  if (HAL_TIM_PWM_ConfigChannel(&htim17, &sConfigOC, TIM_CHANNEL_1) != HAL_OK)
  {
    Error_Handler();
  }
  sBreakDeadTimeConfig.OffStateRunMode = TIM_OSSR_DISABLE;
  sBreakDeadTimeConfig.OffStateIDLEMode = TIM_OSSI_DISABLE;
  sBreakDeadTimeConfig.LockLevel = TIM_LOCKLEVEL_OFF;
  sBreakDeadTimeConfig.DeadTime = 0;
  sBreakDeadTimeConfig.BreakState = TIM_BREAK_DISABLE;
  sBreakDeadTimeConfig.BreakPolarity = TIM_BREAKPOLARITY_HIGH;
  sBreakDeadTimeConfig.BreakFilter = 0;
  sBreakDeadTimeConfig.AutomaticOutput = TIM_AUTOMATICOUTPUT_DISABLE;
  if (HAL_TIMEx_ConfigBreakDeadTime(&htim17, &sBreakDeadTimeConfig) != HAL_OK)
  {
    Error_Handler();
  }
  HAL_TIM_MspPostInit(&htim17);

}

static void MX_USART1_UART_Init(void)
{

  huart1.Instance = USART1;
  huart1.Init.BaudRate = 115200;
  huart1.Init.WordLength = UART_WORDLENGTH_8B;
  huart1.Init.StopBits = UART_STOPBITS_1;
  huart1.Init.Parity = UART_PARITY_NONE;
  huart1.Init.Mode = UART_MODE_TX_RX;
  huart1.Init.HwFlowCtl = UART_HWCONTROL_NONE;
  huart1.Init.OverSampling = UART_OVERSAMPLING_16;
  huart1.Init.OneBitSampling = UART_ONE_BIT_SAMPLE_DISABLE;
  huart1.Init.ClockPrescaler = UART_PRESCALER_DIV1;
  huart1.AdvancedInit.AdvFeatureInit = UART_ADVFEATURE_NO_INIT;
  if (HAL_UART_Init(&huart1) != HAL_OK)
  {
    Error_Handler();
  }
  if (HAL_UARTEx_SetTxFifoThreshold(&huart1, UART_TXFIFO_THRESHOLD_1_8) != HAL_OK)
  {
    Error_Handler();
  }
  if (HAL_UARTEx_SetRxFifoThreshold(&huart1, UART_RXFIFO_THRESHOLD_1_8) != HAL_OK)
  {
    Error_Handler();
  }
  if (HAL_UARTEx_DisableFifoMode(&huart1) != HAL_OK)
  {
    Error_Handler();
  }

}

static void MX_GPIO_Init(void)
{
  GPIO_InitTypeDef GPIO_InitStruct = {0};

  /* GPIO Ports Clock Enable */
  __HAL_RCC_GPIOC_CLK_ENABLE();
  __HAL_RCC_GPIOA_CLK_ENABLE();
  __HAL_RCC_GPIOB_CLK_ENABLE();
  __HAL_RCC_GPIOD_CLK_ENABLE();

  /*Configure GPIO pin Output Level */
  HAL_GPIO_WritePin(GPIOC, NSLEEP_3_Pin|PH_3_Pin|NSLEEP_5_Pin, GPIO_PIN_RESET);

  /*Configure GPIO pin Output Level */
  HAL_GPIO_WritePin(GPIOB, NSLEEP_2_Pin|PH_2_Pin|NSLEEP_1_Pin|PH_1_Pin
                          |NSLEEP_4_Pin|PH_4_Pin, GPIO_PIN_RESET);

  /*Configure GPIO pin Output Level */
  HAL_GPIO_WritePin(PH_5_GPIO_Port, PH_5_Pin, GPIO_PIN_RESET);

  /*Configure GPIO pins : NFAULT_3_Pin NFAULT_2_Pin NFAULT_5_Pin */
  GPIO_InitStruct.Pin = NFAULT_3_Pin|NFAULT_2_Pin|NFAULT_5_Pin;
  GPIO_InitStruct.Mode = GPIO_MODE_INPUT;
  GPIO_InitStruct.Pull = GPIO_NOPULL;
  HAL_GPIO_Init(GPIOC, &GPIO_InitStruct);

  /*Configure GPIO pins : NSLEEP_3_Pin PH_3_Pin NSLEEP_5_Pin */
  GPIO_InitStruct.Pin = NSLEEP_3_Pin|PH_3_Pin|NSLEEP_5_Pin;
  GPIO_InitStruct.Mode = GPIO_MODE_OUTPUT_PP;
  GPIO_InitStruct.Pull = GPIO_NOPULL;
  GPIO_InitStruct.Speed = GPIO_SPEED_FREQ_LOW;
  HAL_GPIO_Init(GPIOC, &GPIO_InitStruct);

  /*Configure GPIO pins : NSLEEP_2_Pin PH_2_Pin NSLEEP_1_Pin PH_1_Pin
                           NSLEEP_4_Pin PH_4_Pin */
  GPIO_InitStruct.Pin = NSLEEP_2_Pin|PH_2_Pin|NSLEEP_1_Pin|PH_1_Pin
                          |NSLEEP_4_Pin|PH_4_Pin;
  GPIO_InitStruct.Mode = GPIO_MODE_OUTPUT_PP;
  GPIO_InitStruct.Pull = GPIO_NOPULL;
  GPIO_InitStruct.Speed = GPIO_SPEED_FREQ_LOW;
  HAL_GPIO_Init(GPIOB, &GPIO_InitStruct);

  /*Configure GPIO pins : NFAULT_1_Pin NFAULT_4_Pin */
  GPIO_InitStruct.Pin = NFAULT_1_Pin|NFAULT_4_Pin;
  GPIO_InitStruct.Mode = GPIO_MODE_INPUT;
  GPIO_InitStruct.Pull = GPIO_NOPULL;
  HAL_GPIO_Init(GPIOB, &GPIO_InitStruct);

  /*Configure GPIO pin : PH_5_Pin */
  GPIO_InitStruct.Pin = PH_5_Pin;
  GPIO_InitStruct.Mode = GPIO_MODE_OUTPUT_PP;
  GPIO_InitStruct.Pull = GPIO_NOPULL;
  GPIO_InitStruct.Speed = GPIO_SPEED_FREQ_LOW;
  HAL_GPIO_Init(PH_5_GPIO_Port, &GPIO_InitStruct);

}

/* USER CODE BEGIN 4 */
/**
 * @brief Run the command parser
 */
void cmd_parse(int* msg, std::string* command)
{

	if ((*command) == "ZRO") // If the command is "ZRO" home the finger
	{
		// Check if there is room to add the motion
		if (FINGER.motion_cnt < (sizeof(FINGER.motion_list)/sizeof(Finger_TASK::motion_t)-1))
		{
			FINGER.motion_cnt++; // Increment to identify that there has been a motion added
			FINGER.motion_list[FINGER.motion_cnt] = {Finger_TASK::HOME,0}; // Add motion to motion list
			(*msg) = sprintf(reply,"\r\nHoming Commenced\r\n"); // Prepare UI reply message
		}
		else
		{
			// Prepare UI reply message
			(*msg) = sprintf(reply,"\r\nCommand List Full, you can reset the list with the 'CLR' command\r\n");
		}
	}
	else if ((*command) == "FLX") // If the command is "FLX" flex the finger
	{
		// Check if the command has a valid format
		valid = sscanf(buffer.substr(3).c_str(),"%1d%ld",&flex,&TEMP_set);

		// If it is valid
		if (valid >= 1)
		{
			// Make it so that when just typing in the command it toggle between 0 & 100
			if (valid < 2)
			{
				// Toggle behavior
				if (FINGER.FLX_set == 0)
				{
					TEMP_set = 100;
				}
				else
				{
					TEMP_set = 0;
				}
			}

			// Check if the setpoint is between 0 and 100%
			if ((TEMP_set >= 0) and (TEMP_set <= 100))
			{
				// Check if room for new commands
				if (FINGER.motion_cnt < (sizeof(FINGER.motion_list)/sizeof(Finger_TASK::motion_t)-1))
				{
					FINGER.motion_cnt++; // Increment command count

					switch(flex) // Switch behavior based on which flex form
					{
					case 3:
						// Add motion to motion list and prepare UI reply
						FINGER.motion_list[FINGER.motion_cnt] = {Finger_TASK::FLX3,TEMP_set};
						(*msg) = sprintf(reply,"\r\n%ld%% Closed in form Flexion 3\r\n",TEMP_set);
						break;
					case 2:
						// Add motion to motion list and prepare UI reply
						FINGER.motion_list[FINGER.motion_cnt] = {Finger_TASK::FLX2,TEMP_set};
						(*msg) = sprintf(reply,"\r\n%ld%% Closed in form Flexion 2\r\n",TEMP_set);
						break;
					case 1:
						// Add motion to motion list and prepare UI reply
						FINGER.motion_list[FINGER.motion_cnt] = {Finger_TASK::FLX1,TEMP_set};
						(*msg) = sprintf(reply,"\r\n%ld%% Closed in form Flexion 1\r\n",TEMP_set);
						break;
					default:
						// Prepare UI reply
						(*msg) = sprintf(reply,"\r\nInvalid Flexion Form Entered: %d\r\n",flex);
					}
				}
				else // No room for new commands
				{
					// Prepare UI reply
					(*msg) = sprintf(reply,"\r\nCommand List Full, you can reset the list with the 'CLR' command\r\n");
				}
			}
			else // Invalid setpoint
			{
				// Prepare UI reply
				(*msg) = sprintf(reply,"\r\nInvalid %% Entered: %ld\r\n",TEMP_set);
			}
		}
		else // Invalid Syntax
		{
			// Prepare UI reply
			(*msg) = sprintf(reply,"\r\nInvalid FLX Command Syntax: %s\r\n",buffer.c_str());
		}
	}
	else if ((*command) == "ADD") // If command is "ADD" adduct the finger
	{
		// Check if the command has a valid format
		valid = sscanf(buffer.substr(3).c_str(),"%ld",&TEMP_set);

		if (valid == 1) // If it is valid
		{
			// Check if the setpoint is between 0 and 100%
			if ((TEMP_set >= 0) and (TEMP_set <= 100))
			{
				// Check if room for new commands
				if (FINGER.motion_cnt < (sizeof(FINGER.motion_list)/sizeof(Finger_TASK::motion_t)-1))
				{
					FINGER.motion_cnt++; // Increment command count

					// Add motion to motion list and prepare UI reply
					FINGER.motion_list[FINGER.motion_cnt] = {Finger_TASK::ADDN,TEMP_set};
					(*msg) = sprintf(reply,"\r\n%ld%% Adducted\r\n",TEMP_set);
				}
				else
				{
					// Prepare UI reply
					(*msg) = sprintf(reply,"\r\nCommand List Full, you can reset the list with the 'CLR' command\r\n");
				}
			}
			else
			{
				// Prepare UI reply
				(*msg) = sprintf(reply,"\r\nInvalid Adduction %%: %ld\r\n",TEMP_set);
			}
		}
		else
		{
			// Prepare UI reply
			(*msg) = sprintf(reply,"\r\nInvalid ADD Command Syntax: %s\r\n",buffer.c_str());
		}
	}
	else if ((*command) == "ABD") // If command is "ABD" abduct the finger
	{
		// Check if the command has a valid format
		valid = sscanf(buffer.substr(3).c_str(),"%ld",&TEMP_set);

		if (valid == 1) // If it is valid
		{

			// Check if the setpoint is between 0 and 100%
			if ((TEMP_set >= 0) and (TEMP_set <= 100))
			{
				// Check if room for new commands
				if (FINGER.motion_cnt < (sizeof(FINGER.motion_list)/sizeof(Finger_TASK::motion_t)-1))
				{
					FINGER.motion_cnt++; // Increment command count

					// Add motion to motion list and prepare UI reply
					FINGER.motion_list[FINGER.motion_cnt] = {Finger_TASK::ABDN,TEMP_set};
					(*msg) = sprintf(reply,"\r\n%ld%% Abducted\r\n",TEMP_set);
				}
				else
				{
					// Prepare UI reply
					(*msg) = sprintf(reply,"\r\nCommand List Full, you can reset the list with the 'CLR' command\r\n");
				}
			}
			else
			{
				// Prepare UI reply
				(*msg) = sprintf(reply,"\r\nInvalid Abduction %%: %ld\r\n",TEMP_set);
			}
		}
		else
		{
			// Prepare UI reply
			(*msg) = sprintf(reply,"\r\nInvalid ABD Command Syntax: %s\r\n",buffer.c_str());
		}
	}
	else if ((*command) == "DLY") // If the command is "DLY" change the delay between instructions
	{
		// Check if the command has a valid format
		valid = sscanf(buffer.substr(3).c_str(),"%ld",&TEMP_set);

		// If it is valid
		if (valid == 1)
		{
			FINGER.motion_delay = TEMP_set; // Update the delay
			(*msg) = sprintf(reply,"\r\nDelay set to %ld milliseconds\r\n",TEMP_set); // Prepare UI reply
		}
		else
		{
			// Prepare UI reply
			(*msg) = sprintf(reply,"\r\nInvalid SPD Command Syntax: %s\r\n",buffer.c_str());
		}
	}
	else if ((*command) == "RUN") // If the command is "RUN" run the sequence once
	{
		FINGER.motion_index = 0; // Set the index back to 0
		(*msg) = sprintf(reply,"\r\nRunning Commands\r\n"); // Prepare UI reply
	}
	else if ((*command) == "LPG") // If the command is "LPG" loop the sequence indefinitely
	{
		// Check if room for new commands
		if (FINGER.motion_cnt < (sizeof(FINGER.motion_list)/sizeof(Finger_TASK::motion_t)-1))
		{
			FINGER.motion_cnt++;  // Increment command count

			// Add hub motion to motion list to force back to start and prepare UI reply
			FINGER.motion_list[FINGER.motion_cnt] = {Finger_TASK::HUB,0};
			(*msg) = sprintf(reply,"\r\nLooping Commands\r\n");
		}
		else
		{
			// Prepare UI reply
			(*msg) = sprintf(reply,"\r\nCommand List Full, you can reset the list with the 'CLR' command\r\n");
		}
	}
	else if ((*command) == "STP") // If command is "STP" stop the loop
	{
		FINGER.motion_cnt--; // Remove the HUB command from the list (Can also be used to undo)
		(*msg) = sprintf(reply,"\r\nStopping Loop\r\n"); // Prepare UI reply
	}
	else if ((*command) == "CLR") // If commad is "CLR" cleat the sequence
	{
		FINGER.motion_index = 0; // Send back to start
		FINGER.motion_cnt = 0; // Remove all commands from list
		FINGER.motion_list[FINGER.motion_cnt] = {Finger_TASK::HUB,0}; // Make sure first command is hub
		(*msg) = sprintf(reply,"\r\nCommand List Cleared\r\n"); // Prepare UI reply
	}
	else if ((*command) == "DMO") // If command is "DMO" start pre-programmed demo
	{
		FINGER.motion_index = 0; // Send back to start

		// Add pregrommed sequence to list
		#ifdef THUMB_FINGER
			FINGER.motion_list[0] = {Finger_TASK::HUB,0};
			FINGER.motion_list[1] = {Finger_TASK::ABDN,100};
			FINGER.motion_list[2] = {Finger_TASK::FLX3,100};
			FINGER.motion_list[3] = {Finger_TASK::ADDN,75};
			FINGER.motion_list[4] = {Finger_TASK::FLX2,100};
			FINGER.motion_list[5] = {Finger_TASK::FLX1,25};
			FINGER.motion_list[6] = {Finger_TASK::ADDN,25};
			FINGER.motion_list[7] = {Finger_TASK::FLX1,0};
			FINGER.motion_list[8] = {Finger_TASK::ADDN,0};
			FINGER.motion_list[9] = {Finger_TASK::HUB,0};
			FINGER.motion_cnt = 9;
		#endif

		#ifdef INDEX_FINGER
			FINGER.motion_list[0] = {Finger_TASK::HUB,0};
			FINGER.motion_list[1] = {Finger_TASK::ADDN,100};
			FINGER.motion_list[2] = {Finger_TASK::FLX2,100};
			FINGER.motion_list[3] = {Finger_TASK::FLX3,100};
			FINGER.motion_list[4] = {Finger_TASK::ABDN,100};
			FINGER.motion_list[5] = {Finger_TASK::FLX1,100};
			FINGER.motion_list[6] = {Finger_TASK::FLX1,0};
			FINGER.motion_list[7] = {Finger_TASK::ABDN,0};
			FINGER.motion_list[8] = {Finger_TASK::HUB,0};
			FINGER.motion_cnt = 8;
		#endif

		// Prepare UI reply
		(*msg) = sprintf(reply,"\r\nBegin demo motion sequence\r\n");
	}
	else
	{
		// Prepare UI reply
		(*msg) = sprintf(reply,"\r\nInvalid Command: %s \r\n",buffer.c_str());
	}
}

/**
 * @brief UART Callback
 */
void HAL_UART_RxCpltCallback(UART_HandleTypeDef *huart)
{
	HAL_UART_Transmit(&huart1,&buf,sizeof(buf),1000); // Echo keys

	// If enter is pressed
	if ((buf == '\n') || (buf == '\r'))
	{
		int msg; // creat message variable

		std::string command = buffer.substr(0,3); // Isolate the command

		cmd_parse(&msg,&command); // Parse the command

		HAL_UART_Transmit(&huart1,(unsigned char*)reply,msg,1000); // Transmit UI reply
		buffer.clear(); // Clear the buffer to prevent re-running same command
	}
	else if (buf == '\177') // IF backspace pressed
	{
		if (not buffer.empty()) // Make sure the string isnt empty
		{
			buffer.pop_back(); // Remove the most recent character
		}
	}
	else // Otherwise
	{
		buffer += buf; // Add buf to buffer
	}

	HAL_UART_Receive_IT(&huart1,&buf,sizeof(buf)); // Set up to recieve again
}

/**
 * @brief Get the current time in microseconds
 * @return Count of microseconds timer
 */
uint16_t micros(void)
{
	return (&htim6)->Instance->CNT; // Get the microseconds timer count
}

/**
 * @brief Calculate the difference between an initial and final time in microseconds
 * @param initial_t Initial Time in microseconds
 * @param final_t Final Time in microseconds
 * @return Difference between initial and final time in microseconds
 */
uint16_t time_diff(uint16_t initial_t, uint16_t final_t)
{
	uint16_t dt = final_t - initial_t; // Calculate the change in time

	uint16_t AR = __HAL_TIM_GET_AUTORELOAD(&htim6); // Retrieve AR for CLK

	if (abs(dt) > (AR + 1)/2) // Account for overflow
	{
		if (dt > 0)
		{
			dt -= (AR + 1);
		}
		else
		{
			dt += (AR + 1);
		}
	}

	return dt;
}

/* USER CODE END 4 */

void Error_Handler(void)
{
  __disable_irq();
  while (1)
  {
  }
}
